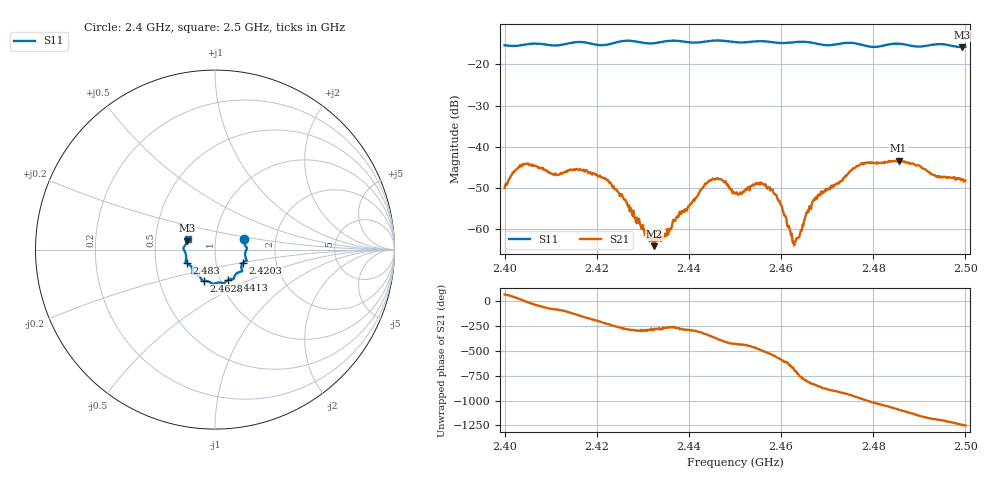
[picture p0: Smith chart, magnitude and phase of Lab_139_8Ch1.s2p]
# Hz S RI R 50
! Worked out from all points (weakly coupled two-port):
!   601 points, 2.4 GHz to 2.5 GHz, reference 50 ohm
!   highest |S21| = -43.33 dB at 2.4855 GHz (marker M1); lowest = -64.1 dB at 2.4325 GHz (marker M2)
!   lowest |S11| = -15.8 dB at 2.4993 GHz (marker M3), VSWR 1.39, Z = 36.5 + j3.72 ohm
!   |S11| at or under -10 dB: start of sweep to end of sweep
!   S12 and S22 are empty: the file has one direction only
!   S11 on the Smith chart (normalised r, x): 2.4 GHz: 1.37, +0.16; 2.4203 GHz: 1.35, -0.21; 2.4413 GHz: 1.09, -0.38; 2.4628 GHz: 0.83, -0.30; 2.483 GHz: 0.72, -0.11; 2.5 GHz: 0.73, +0.09
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2.4e9  0.1606 0.0568  0.00123 0.00293  0 0  0 0
2.4045e9  0.1734 0.0153  0.00615 -0.00019  0 0  0 0
2.411e9  0.1682 -0.0207  0.000733 -0.00471  0 0  0 0
2.416667e9  0.1761 -0.0616  -0.0046 -0.0026  0 0  0 0
2.420333e9  0.1551 -0.074  -0.00411 0.00148  0 0  0 0
2.425667e9  0.1514 -0.1182  -2.41e-05 0.00242  0 0  0 0
2.4325e9  0.1119 -0.1419  7.71e-05 0.000621  0 0  0 0
2.433333e9  0.108 -0.1484  0.000177 0.000752  0 0  0 0
2.441333e9  0.0743 -0.1682  0.00113 0.0021  0 0  0 0
2.445667e9  0.0506 -0.1879  0.00398 -0.000554  0 0  0 0
2.45e9  0.0292 -0.1836  0.000925 -0.00261  0 0  0 0
2.455e9  -0.00769 -0.1909  -0.00185 -0.00316  0 0  0 0
2.457667e9  -0.0204 -0.1862  -0.00293 -0.000458  0 0  0 0
2.459667e9  -0.0358 -0.1782  -0.00173 0.00139  0 0  0 0
2.462833e9  -0.063 -0.1747  0.000553 0.000317  0 0  0 0
2.466667e9  -0.0743 -0.1675  -0.000787 -0.00188  0 0  0 0
2.477e9  -0.1243 -0.1244  -0.00167 0.00576  0 0  0 0
2.483e9  -0.1549 -0.0767  0.00604 0.00249  0 0  0 0
2.483333e9  -0.1571 -0.0758  0.00637 0.00223  0 0  0 0
2.4855e9  -0.1641 -0.0697  0.00673 -0.00109  0 0  0 0
2.499333e9  -0.1542 0.0497  -0.00394 -0.00106  0 0  0 0
2.5e9  -0.1525 0.0587  -0.00387 -0.000664  0 0  0 0
